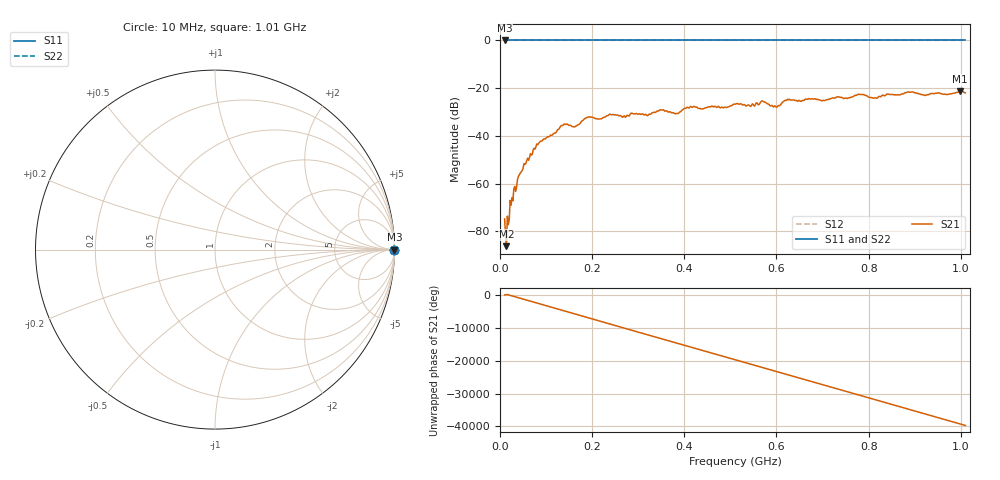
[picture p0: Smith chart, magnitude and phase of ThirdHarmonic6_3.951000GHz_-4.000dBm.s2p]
! 8/17/2025 2:00:24 PM
! C:\ANRITSUVNA\TEMP\TEMP.S2P
! CHANNEL.1
! TR.MEASUREMENT
! RAW.DATA
! RF.CORRECTION.OFF
! AVERAGING.OFF
! IF.BANDWIDTH: 5KHZ
! SWEEPTYPE:  FREQ.SWEEP(Linear)
! Reference Plane Port Info
! PORT:  PORT1  PORT2
! DISTANCE:  0  m  0  m
! TIME:  0  s  0  s
! PHASE.OFFSET:  0  deg.  0  deg.
! LOSS:  0  dB  0  dB
! REF.LOSS:  0  dB  0  dB
! REF.FREQ:  0  Hz  0  Hz
! Power Info
! POWER:  -20  dBm  -20  dBm
! EFF.POWER:  -20  dBm  -20  dBm
! SOURCE.ATTEN:  0  dB  0  dB
! TEST.ATTEN:  0  dB  0  dB
# GHZ S RI R 50.0
! FREQ.GHZ  S11RE  S11IM  S21RE  S21IM  S12RE  S12IM  S22RE  S22IM
!; PortSelection: Port_12
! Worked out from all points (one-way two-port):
!   501 points, 10 MHz to 1.01 GHz, reference 50 ohm
!   highest |S21| = -21.30 dB at 998 MHz (marker M1); lowest = -86.3 dB at 14 MHz (marker M2)
!   lowest |S11| = 0.0 dB at 10 MHz (marker M3)
!   |S11| at or under -10 dB: nowhere
!   |S22| runs from 0.0 to 0.0 dB; largest |S21 - S12| = 1.1
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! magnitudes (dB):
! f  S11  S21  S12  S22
! 10 MHz  0.0  -74.8  0.0  0.0
! 14 MHz  0.0  -86.3  0.0  0.0
! 16 MHz  0.0  -73.7  0.0  0.0
! 26 MHz  0.0  -65.9  0.0  0.0
! 42 MHz  0.0  -56.3  0.0  0.0
! 76 MHz  0.0  -45.6  0.0  0.0
! 136 MHz  0.0  -35.7  0.0  0.0
! 162 MHz  0.0  -36.3  0.0  0.0
! 178 MHz  0.0  -33.7  0.0  0.0
! 192 MHz  0.0  -32.2  0.0  0.0
! 322 MHz  0.0  -31.3  0.0  0.0
! 344 MHz  0.0  -29.6  0.0  0.0
! 384 MHz  0.0  -30.6  0.0  0.0
! 410 MHz  0.0  -28.3  0.0  0.0
! 510 MHz  0.0  -26.7  0.0  0.0
! 570 MHz  0.0  -25.4  0.0  0.0
! 598 MHz  0.0  -27.6  0.0  0.0
! 624 MHz  0.0  -24.7  0.0  0.0
! 678 MHz  0.0  -24.5  0.0  0.0
! 844 MHz  0.0  -22.6  0.0  0.0
! 998 MHz  0.0  -21.3  0.0  0.0
! 1.01 GHz  0.0  -22.0  0.0  0.0
